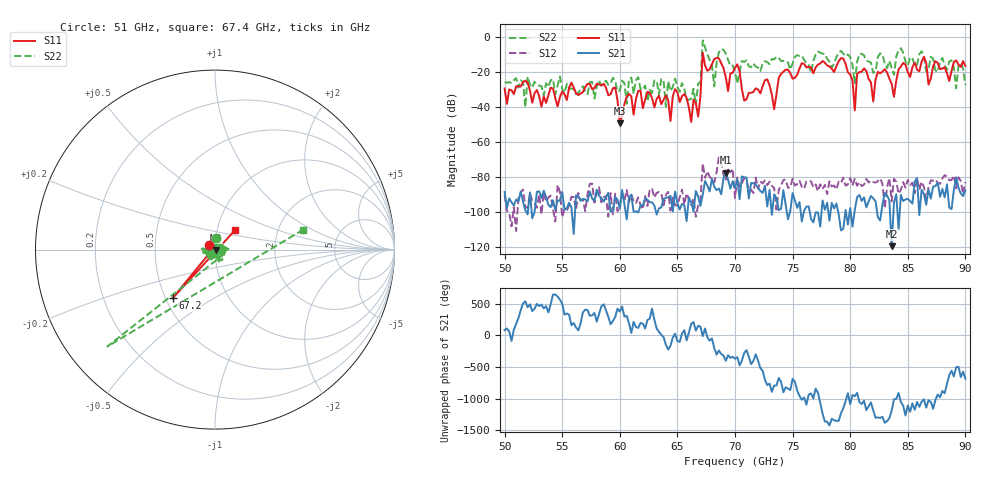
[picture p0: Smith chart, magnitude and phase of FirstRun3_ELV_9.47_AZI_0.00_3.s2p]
! 11/24/2026 3:28:47 PM
! C:\ANRITSUVNA\TEMP\TEMP.S2P
! CHANNEL.1
! TR.MEASUREMENT
! RAW.DATA
# HZ S RI R 50.0
! FREQ.HZ  S11RE  S11IM  S21RE  S21IM  S12RE  S12IM  S22RE  S22IM
!; PortSelection: Port_12
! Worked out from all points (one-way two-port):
!   201 points, 50 GHz to 90 GHz, reference 50 ohm
!   highest |S21| = -77.30 dB at 69.2 GHz (marker M1); lowest = -119.4 dB at 83.6 GHz (marker M2)
!   lowest |S11| = -49.2 dB at 60 GHz (marker M3), VSWR 1.01, Z = 50.3 - j0.151 ohm
!   |S11| at or under -10 dB: start of sweep to 67.19 GHz; 67.23 GHz to end of sweep
!   |S22| runs from -40.0 to -1.9 dB; largest |S21 - S12| = 0.0004
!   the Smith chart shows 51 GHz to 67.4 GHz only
!   S11 on the Smith chart (normalised r, x): 51 GHz: 0.94, +0.05; 67.2 GHz: 0.54, -0.34; 67.4 GHz: 1.22, +0.27
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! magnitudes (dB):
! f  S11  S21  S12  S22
! 50 GHz  -29.3  -88.4  -90.2  -25.6
! 51 GHz  -28.0  -92.8  -110.6  -23.4
! 51.8 GHz  -24.8  -98.9  -97.0  -40.0
! 56.8 GHz  -31.4  -92.4  -92.8  -28.0
! 59.6 GHz  -28.8  -91.4  -89.4  -25.0
! 60 GHz  -49.2  -97.9  -96.5  -30.5
! 63.4 GHz  -33.4  -97.8  -88.4  -32.6
! 66.8 GHz  -45.4  -91.1  -96.1  -26.5
! 67.2 GHz  -8.9  -90.1  -72.1  -1.9
! 67.4 GHz  -16.1  -82.1  -80.4  -5.9
! 68.2 GHz  -12.5  -85.4  -82.9  -28.1
! 69.2 GHz  -22.8  -77.3  -81.8  -9.5
! 70 GHz  -17.5  -86.3  -91.8  -19.9
! 73.4 GHz  -41.2  -89.8  -86.1  -12.6
! 74.2 GHz  -19.7  -87.3  -81.6  -13.5
! 76.8 GHz  -20.6  -105.8  -85.7  -13.6
! 79.4 GHz  -12.2  -109.5  -80.2  -9.4
! 80.4 GHz  -41.8  -98.7  -80.9  -26.3
! 80.6 GHz  -21.0  -91.4  -84.9  -14.0
! 83.4 GHz  -23.7  -93.1  -80.5  -13.5
! 83.6 GHz  -26.6  -119.4  -93.8  -17.5
! 90 GHz  -16.4  -87.5  -82.7  -27.3
